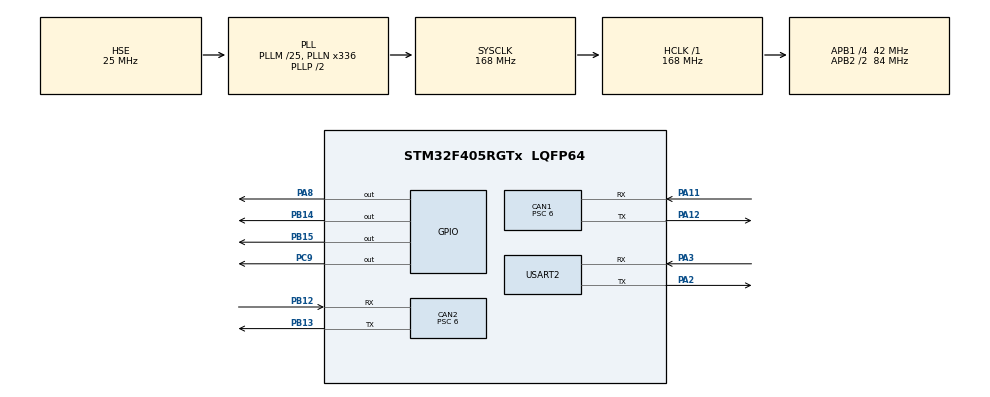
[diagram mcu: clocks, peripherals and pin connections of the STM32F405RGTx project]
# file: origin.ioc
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CAN1.BS1=CAN_BS1_3TQ
CAN1.BS2=CAN_BS2_3TQ
CAN1.CalculateTimeQuantum=142.85714285714286
CAN1.Prescaler=6
CAN2.BS1=CAN_BS1_3TQ
CAN2.BS2=CAN_BS2_3TQ
CAN2.CalculateTimeQuantum=142.85714285714286
CAN2.Prescaler=6
Dma.Request0=USART2_RX
Dma.USART2_RX.0.Direction=DMA_PERIPH_TO_MEMORY
Dma.USART2_RX.0.FIFOMode=DMA_FIFOMODE_DISABLE
Dma.USART2_RX.0.Instance=DMA1_Stream5
Dma.USART2_RX.0.MemDataAlignment=DMA_MDATAALIGN_BYTE
Dma.USART2_RX.0.MemInc=DMA_MINC_ENABLE
Dma.USART2_RX.0.Mode=DMA_CIRCULAR
Dma.USART2_RX.0.PeriphDataAlignment=DMA_PDATAALIGN_BYTE
Dma.USART2_RX.0.PeriphInc=DMA_PINC_DISABLE
Dma.USART2_RX.0.Priority=DMA_PRIORITY_LOW
Mcu.Family=STM32F4
Mcu.Name=STM32F405RGTx
Mcu.Package=LQFP64
NVIC.CAN1_RX0_IRQn=true\:0\:0\:false\:false\:true\:true\:true
NVIC.CAN1_SCE_IRQn=true\:0\:0\:false\:false\:true\:true\:true
NVIC.CAN2_RX1_IRQn=true\:0\:0\:false\:false\:true\:true\:true
NVIC.CAN2_SCE_IRQn=true\:0\:0\:false\:false\:true\:true\:true
NVIC.DMA1_Stream5_IRQn=true\:0\:0\:false\:false\:true\:false\:true
NVIC.PriorityGroup=NVIC_PRIORITYGROUP_4
NVIC.USART2_IRQn=true\:0\:0\:false\:false\:true\:true\:true
PA11.Mode=Master
PA11.Signal=CAN1_RX
PA12.Mode=Master
PA12.Signal=CAN1_TX
PA13.Mode=Serial_Wire
PA13.Signal=SYS_JTMS-SWDIO
PA14.Mode=Serial_Wire
PA14.Signal=SYS_JTCK-SWCLK
PA2.Mode=Asynchronous
PA2.Signal=USART2_TX
PA3.GPIO_PuPd=GPIO_PULLUP
PA3.Mode=Asynchronous
PA3.Signal=USART2_RX
PA8.GPIO_PuPd=GPIO_PULLUP
PA8.Signal=GPIO_Output
PB12.Mode=Slave
PB12.Signal=CAN2_RX
PB13.Mode=Slave
PB13.Signal=CAN2_TX
PB14.GPIO_PuPd=GPIO_PULLDOWN
PB14.Signal=GPIO_Output
PB15.GPIO_PuPd=GPIO_PULLUP
PB15.Signal=GPIO_Output
PC9.GPIO_PuPd=GPIO_PULLUP
PC9.Signal=GPIO_Output
PH0-OSC_IN.Mode=HSE-External-Oscillator
PH0-OSC_IN.Signal=RCC_OSC_IN
PH1-OSC_OUT.Mode=HSE-External-Oscillator
PH1-OSC_OUT.Signal=RCC_OSC_OUT
ProjectManager.HeapSize=0x200
ProjectManager.StackSize=0x400
ProjectManager.TargetToolchain=MDK-ARM V5
RCC.48MHZClocksFreq_Value=84000000
RCC.AHBFreq_Value=168000000
RCC.APB1CLKDivider=RCC_HCLK_DIV4
RCC.APB1Freq_Value=42000000
RCC.APB1TimFreq_Value=84000000
RCC.APB2CLKDivider=RCC_HCLK_DIV2
RCC.APB2Freq_Value=84000000
RCC.APB2TimFreq_Value=168000000
RCC.CortexFreq_Value=168000000
RCC.HCLKFreq_Value=168000000
RCC.HSE_VALUE=25000000
RCC.HSI_VALUE=16000000
RCC.LSE_VALUE=32768
RCC.PLLM=25
RCC.PLLN=336
RCC.PLLSourceVirtual=RCC_PLLSOURCE_HSE
RCC.SYSCLKFreq_VALUE=168000000
RCC.SYSCLKSource=RCC_SYSCLKSOURCE_PLLCLK
RCC.VCOOutputFreq_Value=336000000
USART2.VirtualMode=VM_ASYNC
board=custom

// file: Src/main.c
/* USER CODE BEGIN Header */
/**
  ******************************************************************************
  * @file           : main.c
  * @brief          : Main program body
  ******************************************************************************
  * @attention
  *
  * <h2><center>&copy; Copyright (c) 2023 STMicroelectronics.
  * All rights reserved.</center></h2>
  *
  * This software component is licensed by ST under BSD 3-Clause license,
  * the "License"; You may not use this file except in compliance with the
  * License. You may obtain a copy of the License at:
  *                        opensource.org/licenses/BSD-3-Clause
  *
  ******************************************************************************
  */
/* USER CODE END Header */

#include "main.h"
#include "can.h"
#include "dma.h"
#include "usart.h"
#include "gpio.h"

/* USER CODE BEGIN Includes */

#include "wheel_run.h"
#include "can_bsp.h"
#include "RM3508.h"
#include "GM6020.h"
#include "rm2006.h"

#define GMID 2
#define rmID 5

float speed=15,angle;
int getdata_x,getdata_y,getdata_w,turn=80;
uint8_t receive_buff1[255];
/* USER CODE END Includes */

void SystemClock_Config(void);

/* USER CODE BEGIN 0 */
void HAL_CAN_RxFifo0MsgPendingCallback(CAN_HandleTypeDef *hcan)
	{
		if(hcan->Instance == hcan1.Instance)
		{
			CAN_RxHeaderTypeDef RxMessage;
		uint8_t RxData[8] = {0};

		HAL_CAN_GetRxMessage(&hcan1, CAN_RX_FIFO0, &RxMessage, RxData);

		if(RxMessage.StdId>=0x201 && RxMessage.StdId<=0x205)
		{
			RM3508_Get_Feedback(RxMessage.StdId, RxData);
		}

		}
	}

	void HAL_CAN_RxFifo1MsgPendingCallback(CAN_HandleTypeDef *hcan)
	{
		if(hcan->Instance == hcan2.Instance)
		{
			CAN_RxHeaderTypeDef RxMessage;
		uint8_t RxData[8] = {0};

		HAL_CAN_GetRxMessage(&hcan2, CAN_RX_FIFO1, &RxMessage, RxData);

		if(RxMessage.StdId>=0x206 && RxMessage.StdId<=0x20B)
		{
			//RM3508_Get_Feedback(RxMessage.StdId, RxData);
			GM6020_Get_Feedback(RxMessage.StdId, RxData);
		}

		}
	}
/* USER CODE END 0 */

int main(void)
{

  /* MCU Configuration--------------------------------------------------------*/

  /* Reset of all peripherals, Initializes the Flash interface and the Systick. */
  HAL_Init();

  /* Configure the system clock */
  SystemClock_Config();

  /* Initialize all configured peripherals */
  MX_GPIO_Init();
  MX_DMA_Init();
  MX_CAN1_Init();
  MX_CAN2_Init();
  MX_USART2_UART_Init();
  /* USER CODE BEGIN 2 */
	CAN_Init(&hcan1);
	CAN_Init(&hcan2);

	__HAL_UART_ENABLE_IT(&huart2, UART_IT_IDLE);

HAL_UART_Receive_DMA(&huart2,(uint8_t*)receive_buff1, 255);
HAL_GPIO_WritePin(GPIOB,GPIO_PIN_14,GPIO_PIN_SET);//小臂
HAL_GPIO_WritePin(GPIOB,GPIO_PIN_15,GPIO_PIN_SET);//大臂
HAL_GPIO_WritePin(GPIOA,GPIO_PIN_8,GPIO_PIN_SET);
  /* USER CODE END 2 */

  /* Infinite loop */
  /* USER CODE BEGIN WHILE */
  while (1)
  {
		if(getdata_x>=-150&&getdata_x<=150&&getdata_y>=-150&&getdata_y<=150&&getdata_w>=-150&&getdata_w<=150)
			{
				Speed_Robot_Coordinate(getdata_x*speed, getdata_y*speed, getdata_w*speed*2/3);
				/*四麦轮速度解算，右下角轮子起始，顺时针id增大*/
				HAL_Delay(1);
			}
			if(turn<65)turn=65;
		else if(turn>300)turn=300;
		GM6020_Set_Pos(turn, GMID);

		HAL_Delay(1);
		RM3508_Set_Ang(angle,rmID);
		HAL_Delay(1);
    /* USER CODE END WHILE */

  }
}

void SystemClock_Config(void)
{
  RCC_OscInitTypeDef RCC_OscInitStruct = {0};
  RCC_ClkInitTypeDef RCC_ClkInitStruct = {0};

  /** Configure the main internal regulator output voltage
  */
  __HAL_RCC_PWR_CLK_ENABLE();
  __HAL_PWR_VOLTAGESCALING_CONFIG(PWR_REGULATOR_VOLTAGE_SCALE1);
  /** Initializes the CPU, AHB and APB busses clocks
  */
  RCC_OscInitStruct.OscillatorType = RCC_OSCILLATORTYPE_HSE;
  RCC_OscInitStruct.HSEState = RCC_HSE_ON;
  RCC_OscInitStruct.PLL.PLLState = RCC_PLL_ON;
  RCC_OscInitStruct.PLL.PLLSource = RCC_PLLSOURCE_HSE;
  RCC_OscInitStruct.PLL.PLLM = 25;
  RCC_OscInitStruct.PLL.PLLN = 336;
  RCC_OscInitStruct.PLL.PLLP = RCC_PLLP_DIV2;
  RCC_OscInitStruct.PLL.PLLQ = 4;
  if (HAL_RCC_OscConfig(&RCC_OscInitStruct) != HAL_OK)
  {
    Error_Handler();
  }
  /** Initializes the CPU, AHB and APB busses clocks
  */
  RCC_ClkInitStruct.ClockType = RCC_CLOCKTYPE_HCLK|RCC_CLOCKTYPE_SYSCLK
                              |RCC_CLOCKTYPE_PCLK1|RCC_CLOCKTYPE_PCLK2;
  RCC_ClkInitStruct.SYSCLKSource = RCC_SYSCLKSOURCE_PLLCLK;
  RCC_ClkInitStruct.AHBCLKDivider = RCC_SYSCLK_DIV1;
  RCC_ClkInitStruct.APB1CLKDivider = RCC_HCLK_DIV4;
  RCC_ClkInitStruct.APB2CLKDivider = RCC_HCLK_DIV2;

  if (HAL_RCC_ClockConfig(&RCC_ClkInitStruct, FLASH_LATENCY_5) != HAL_OK)
  {
    Error_Handler();
  }
}

void Error_Handler(void)
{
}

/************************ (C) COPYRIGHT STMicroelectronics *****END OF FILE****/
